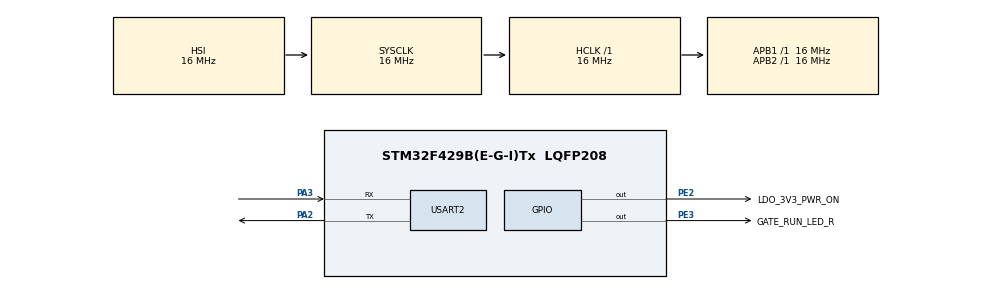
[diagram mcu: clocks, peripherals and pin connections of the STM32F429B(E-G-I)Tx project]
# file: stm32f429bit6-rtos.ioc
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Dma.Request0=USART2_RX
Dma.USART2_RX.0.Direction=DMA_PERIPH_TO_MEMORY
Dma.USART2_RX.0.FIFOMode=DMA_FIFOMODE_DISABLE
Dma.USART2_RX.0.Instance=DMA1_Stream5
Dma.USART2_RX.0.MemDataAlignment=DMA_MDATAALIGN_BYTE
Dma.USART2_RX.0.MemInc=DMA_MINC_ENABLE
Dma.USART2_RX.0.Mode=DMA_CIRCULAR
Dma.USART2_RX.0.PeriphDataAlignment=DMA_PDATAALIGN_BYTE
Dma.USART2_RX.0.PeriphInc=DMA_PINC_DISABLE
Dma.USART2_RX.0.Priority=DMA_PRIORITY_LOW
FREERTOS.Tasks01=defaultTask,0,128,StartDefaultTask,Default,NULL,Dynamic,NULL,NULL
FREERTOS.configUSE_NEWLIB_REENTRANT=1
Mcu.Family=STM32F4
Mcu.Name=STM32F429B(E-G-I)Tx
Mcu.Package=LQFP208
NVIC.DMA1_Stream5_IRQn=true\:5\:0\:false\:false\:true\:true\:false\:true\:true
NVIC.PriorityGroup=NVIC_PRIORITYGROUP_4
PA13.Mode=Serial_Wire
PA13.Signal=SYS_JTMS-SWDIO
PA14.Mode=Serial_Wire
PA14.Signal=SYS_JTCK-SWCLK
PA2.Mode=Asynchronous
PA2.Signal=USART2_TX
PA3.Mode=Asynchronous
PA3.Signal=USART2_RX
PC14/OSC32_IN.Mode=LSE-External-Oscillator
PC14/OSC32_IN.Signal=RCC_OSC32_IN
PC15/OSC32_OUT.Mode=LSE-External-Oscillator
PC15/OSC32_OUT.Signal=RCC_OSC32_OUT
PE2.GPIO_Label=LDO_3V3_PWR_ON
PE2.Signal=GPIO_Output
PE3.GPIO_Label=GATE_RUN_LED_R
PE3.Signal=GPIO_Output
PH0/OSC_IN.Mode=HSE-External-Oscillator
PH0/OSC_IN.Signal=RCC_OSC_IN
PH1/OSC_OUT.Mode=HSE-External-Oscillator
PH1/OSC_OUT.Signal=RCC_OSC_OUT
ProjectManager.HeapSize=0x200
ProjectManager.StackSize=0x400
ProjectManager.TargetToolchain=STM32CubeIDE
RCC.AHBFreq_Value=16000000
RCC.APB1Freq_Value=16000000
RCC.APB2Freq_Value=16000000
RCC.CortexFreq_Value=16000000
RCC.HSE_VALUE=25000000
RCC.HSI_VALUE=16000000
RCC.SYSCLKFreq_VALUE=16000000
RCC.VCOOutputFreq_Value=192000000
USART2.VirtualMode=VM_ASYNC
VP_FREERTOS_VS_CMSIS_V1.Mode=CMSIS_V1
board=custom

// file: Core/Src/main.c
/* USER CODE BEGIN Header */
/**
  ******************************************************************************
  * @file           : main.c
  * @brief          : Main program body
  ******************************************************************************
  * @attention
  *
  * Copyright (c) 2024 STMicroelectronics.
  * All rights reserved.
  *
  * This software is licensed under terms that can be found in the LICENSE file
  * in the root directory of this software component.
  * If no LICENSE file comes with this software, it is provided AS-IS.
  *
  ******************************************************************************
  */
/* USER CODE END Header */
#include "main.h"
#include "cmsis_os.h"

/* USER CODE BEGIN Includes */
#include "stdio.h"
#include "string.h"
#include "stdlib.h"
/* USER CODE END Includes */

UART_HandleTypeDef huart2;
DMA_HandleTypeDef hdma_usart2_rx;

osThreadId defaultTaskHandle;
/* USER CODE BEGIN PV */
osThreadId DebugMonitorHandle;

/*** Static Variables ***/
static UART_HandleTypeDef *sp_huart;

#define BUFFER_SIZE 16
#define bufferRxWp ( (BUFFER_SIZE - sp_huart->hdmarx->Instance->NDTR) & (BUFFER_SIZE - 1) )

static volatile uint8_t s_bufferRx[BUFFER_SIZE];
static volatile uint8_t s_bufferRxRp = 0;

/* USER CODE END PV */

void SystemClock_Config(void);
static void MX_GPIO_Init(void);
static void MX_DMA_Init(void);
static void MX_USART2_UART_Init(void);
void StartDefaultTask(void const * argument);

/* USER CODE BEGIN PFP */
void DebugMonitorTask(void const * argument);
uint8_t uartTerminal_recv();
uint32_t uartTerminal_send(uint8_t data);
static uint32_t led(char *argv[], uint32_t argc);
/* USER CODE END PFP */

/* USER CODE BEGIN 0 */
#ifdef __GNUC__
#define PUTCHAR_PROTOTYPE int __io_putchar(int ch)
#else
#define PUTCHAR_PROTOTYPE int fputc(int ch, FILE *f)
#endif /* __GNUC__ */

PUTCHAR_PROTOTYPE
{
	uartTerminal_send(ch);

	return 1;
}

#ifdef __GNUC__
#define GETCHAR_PROTOTYPE int __io_getchar(void)
#else
#define GETCHAR_PROTOTYPE int fgetc(FILE *f)
#endif /* __GNUC__ */

GETCHAR_PROTOTYPE
{
	return uartTerminal_recv();
}

//uint32_t uartTerminal_init(UART_HandleTypeDef *huart)
//{
//  sp_huart = huart;
//  HAL_UART_Receive_DMA(sp_huart, (uint8_t*)s_bufferRx, BUFFER_SIZE);
//  s_bufferRxRp = 0;
//
////  /* echo test */
////  while(1){
////    uartTerminal_send(uartTerminal_recv());
////  }
//  return 1;
//}

uint32_t uartTerminal_send(uint8_t data)
{
  HAL_StatusTypeDef ret;
  ret = HAL_UART_Transmit(sp_huart, &data, 1, 100);
  if (ret == HAL_OK ) {
    return 1;
  } else {
    return 0;
  }
}

uint8_t uartTerminal_recv()
{
  uint8_t data = 0;
  while (bufferRxWp == s_bufferRxRp);
  data = s_bufferRx[s_bufferRxRp++];
  s_bufferRxRp &= (BUFFER_SIZE - 1);
  return data;
}

uint32_t uartTerminal_recvTry(char *data)
{
	if(bufferRxWp == s_bufferRxRp){
	  return 0;
	}

	*data = s_bufferRx[s_bufferRxRp++];
	s_bufferRxRp &= (BUFFER_SIZE - 1);

	return 1;
}
/* USER CODE END 0 */

int main(void)
{

  /* MCU Configuration--------------------------------------------------------*/

  /* Reset of all peripherals, Initializes the Flash interface and the Systick. */
  HAL_Init();

  /* Configure the system clock */
  SystemClock_Config();

  /* Initialize all configured peripherals */
  MX_GPIO_Init();
  MX_DMA_Init();
  MX_USART2_UART_Init();
  /* USER CODE BEGIN 2 */
  sp_huart = &huart2;
  HAL_UART_Receive_DMA(sp_huart, (uint8_t*)s_bufferRx, BUFFER_SIZE);
  s_bufferRxRp = 0;

  setbuf(stdin, NULL);
  setbuf(stdout, NULL);
  setbuf(stderr, NULL);

  printf("stm32f429bit-rtos\r\n");
  /* USER CODE END 2 */

  /* Create the thread(s) */
  /* definition and creation of defaultTask */
  osThreadDef(defaultTask, StartDefaultTask, osPriorityNormal, 0, 128);
  defaultTaskHandle = osThreadCreate(osThread(defaultTask), NULL);

  /* USER CODE BEGIN RTOS_THREADS */
  /* add threads, ... */
  osThreadDef(DebugMonitor, DebugMonitorTask, osPriorityIdle, 0, 512);
  DebugMonitorHandle = osThreadCreate(osThread(DebugMonitor), NULL);
  /* USER CODE END RTOS_THREADS */

  /* Start scheduler */
  osKernelStart();

  /* We should never get here as control is now taken by the scheduler */
  /* Infinite loop */
  while (1)
  {

  }
}

void SystemClock_Config(void)
{
  RCC_OscInitTypeDef RCC_OscInitStruct = {0};
  RCC_ClkInitTypeDef RCC_ClkInitStruct = {0};

  /** Configure the main internal regulator output voltage
  */
  __HAL_RCC_PWR_CLK_ENABLE();
  __HAL_PWR_VOLTAGESCALING_CONFIG(PWR_REGULATOR_VOLTAGE_SCALE3);

  /** Initializes the RCC Oscillators according to the specified parameters
  * in the RCC_OscInitTypeDef structure.
  */
  RCC_OscInitStruct.OscillatorType = RCC_OSCILLATORTYPE_HSI;
  RCC_OscInitStruct.HSIState = RCC_HSI_ON;
  RCC_OscInitStruct.HSICalibrationValue = RCC_HSICALIBRATION_DEFAULT;
  RCC_OscInitStruct.PLL.PLLState = RCC_PLL_NONE;
  if (HAL_RCC_OscConfig(&RCC_OscInitStruct) != HAL_OK)
  {
    Error_Handler();
  }

  /** Initializes the CPU, AHB and APB buses clocks
  */
  RCC_ClkInitStruct.ClockType = RCC_CLOCKTYPE_HCLK|RCC_CLOCKTYPE_SYSCLK
                              |RCC_CLOCKTYPE_PCLK1|RCC_CLOCKTYPE_PCLK2;
  RCC_ClkInitStruct.SYSCLKSource = RCC_SYSCLKSOURCE_HSI;
  RCC_ClkInitStruct.AHBCLKDivider = RCC_SYSCLK_DIV1;
  RCC_ClkInitStruct.APB1CLKDivider = RCC_HCLK_DIV1;
  RCC_ClkInitStruct.APB2CLKDivider = RCC_HCLK_DIV1;

  if (HAL_RCC_ClockConfig(&RCC_ClkInitStruct, FLASH_LATENCY_0) != HAL_OK)
  {
    Error_Handler();
  }
}

static void MX_USART2_UART_Init(void)
{

  huart2.Instance = USART2;
  huart2.Init.BaudRate = 115200;
  huart2.Init.WordLength = UART_WORDLENGTH_8B;
  huart2.Init.StopBits = UART_STOPBITS_1;
  huart2.Init.Parity = UART_PARITY_NONE;
  huart2.Init.Mode = UART_MODE_TX_RX;
  huart2.Init.HwFlowCtl = UART_HWCONTROL_NONE;
  huart2.Init.OverSampling = UART_OVERSAMPLING_16;
  if (HAL_UART_Init(&huart2) != HAL_OK)
  {
    Error_Handler();
  }

}

static void MX_DMA_Init(void)
{

  /* DMA controller clock enable */
  __HAL_RCC_DMA1_CLK_ENABLE();

  /* DMA interrupt init */
  /* DMA1_Stream5_IRQn interrupt configuration */
  HAL_NVIC_SetPriority(DMA1_Stream5_IRQn, 5, 0);
  HAL_NVIC_EnableIRQ(DMA1_Stream5_IRQn);

}

static void MX_GPIO_Init(void)
{
  GPIO_InitTypeDef GPIO_InitStruct = {0};

  /* GPIO Ports Clock Enable */
  __HAL_RCC_GPIOE_CLK_ENABLE();
  __HAL_RCC_GPIOC_CLK_ENABLE();
  __HAL_RCC_GPIOH_CLK_ENABLE();
  __HAL_RCC_GPIOA_CLK_ENABLE();

  /*Configure GPIO pin Output Level */
  HAL_GPIO_WritePin(GPIOE, LDO_3V3_PWR_ON_Pin|GATE_RUN_LED_R_Pin, GPIO_PIN_RESET);

  /*Configure GPIO pins : LDO_3V3_PWR_ON_Pin GATE_RUN_LED_R_Pin */
  GPIO_InitStruct.Pin = LDO_3V3_PWR_ON_Pin|GATE_RUN_LED_R_Pin;
  GPIO_InitStruct.Mode = GPIO_MODE_OUTPUT_PP;
  GPIO_InitStruct.Pull = GPIO_NOPULL;
  GPIO_InitStruct.Speed = GPIO_SPEED_FREQ_LOW;
  HAL_GPIO_Init(GPIOE, &GPIO_InitStruct);

}

/* USER CODE BEGIN 4 */
#define DEBUG_MONITOR_BUFFER_SIZE 32
#define DEBUG_MONITOR_ARGC_SIZE 4

typedef struct {
  char* cmd;
  uint32_t (*func)(char *argv[], uint32_t argc);
} DEBUG_MON_COMMAND;

DEBUG_MON_COMMAND s_debugCommands[] = {
//  {"enc", enc},
//  {"ls", ls},
//  {"fatfs", fatfs},
  {"led",   led},
//  {"cap",   cap},
//  {"mode",  mode},
//  {"test1", test1},
//  {"test2", test2},
  {(void*)0, (void*)0}
};

static uint32_t led(char *argv[], uint32_t argc)
{
	uint32_t onoff = atoi(argv[0]);

	printf("LED:%ld\r\n", onoff);

	if(onoff == 0){
		HAL_GPIO_WritePin(GATE_RUN_LED_R_GPIO_Port, GATE_RUN_LED_R_Pin, GPIO_PIN_RESET);
	}
	else{
		HAL_GPIO_WritePin(GATE_RUN_LED_R_GPIO_Port, GATE_RUN_LED_R_Pin, GPIO_PIN_SET);
	}
	return 1;
}

void debugMonitorShow()
{
  printf("\nCommand List:\n");
  for (uint32_t i = 0; s_debugCommands[i].cmd != (void*)0; i++) {
    printf("%s\n", s_debugCommands[i].cmd);
  }
  printf(">");
}

void doDebugMonitor()
{
  static char s_storedCommand[DEBUG_MONITOR_BUFFER_SIZE];
  static uint32_t s_storedCommandIndex = 0;

  if (uartTerminal_recvTry(&s_storedCommand[s_storedCommandIndex]) == 1) {
    /* echo back */
    putchar(s_storedCommand[s_storedCommandIndex]);

    /* check if one line is done */
    if (s_storedCommand[s_storedCommandIndex] == '\n' || s_storedCommand[s_storedCommandIndex] == '\r' || s_storedCommandIndex == DEBUG_MONITOR_BUFFER_SIZE-1) {
      /* split input command */
      char *argv[DEBUG_MONITOR_ARGC_SIZE] = {0};
      uint32_t argc = 0;
      argv[argc++] = &s_storedCommand[0];
      for (uint32_t i = 2; i <= s_storedCommandIndex; i++) {
        if (s_storedCommand[i] == '\r' || s_storedCommand[i] == '\n') {
          s_storedCommand[i] = '\0';
          break;
        }
        if (s_storedCommand[i] == ' ') {
          s_storedCommand[i] = '\0';
          argv[argc++] = &s_storedCommand[i+1];
          if (argc == DEBUG_MONITOR_ARGC_SIZE) break;
        }
      }

      /* call corresponding debug command */
      uint32_t ret = 0;
      for (uint32_t i = 0; s_debugCommands[i].cmd != (void*)0; i++) {
        if (strcmp(s_debugCommands[i].cmd, argv[0]) == 0) {
          ret = s_debugCommands[i].func(&argv[1], argc-1);
          printf(">");
        }
      }
      if (ret != 1) debugMonitorShow();
      s_storedCommandIndex = 0;
    } else {
      s_storedCommandIndex++;
    }
  }
}

void DebugMonitorTask(void const * argument)
{
	printf("DebugMonitorTask\r\n");

	while(1)
	{
		doDebugMonitor();
		osDelay(1);
	}
}

/* USER CODE END 4 */

void StartDefaultTask(void const * argument)
{
  /* USER CODE BEGIN 5 */
	printf("StartDefaultTask\r\n");
	HAL_GPIO_WritePin(LDO_3V3_PWR_ON_GPIO_Port, LDO_3V3_PWR_ON_Pin, GPIO_PIN_SET);
  /* Infinite loop */
  for(;;)
  {
	osDelay(1);
//	HAL_GPIO_WritePin(GATE_RUN_LED_R_GPIO_Port, GATE_RUN_LED_R_Pin, GPIO_PIN_SET);
//	osDelay(1000);
//	HAL_GPIO_WritePin(GATE_RUN_LED_R_GPIO_Port, GATE_RUN_LED_R_Pin, GPIO_PIN_RESET);
  }
  /* USER CODE END 5 */
}

void Error_Handler(void)
{
  __disable_irq();
  while (1)
  {
  }
}
